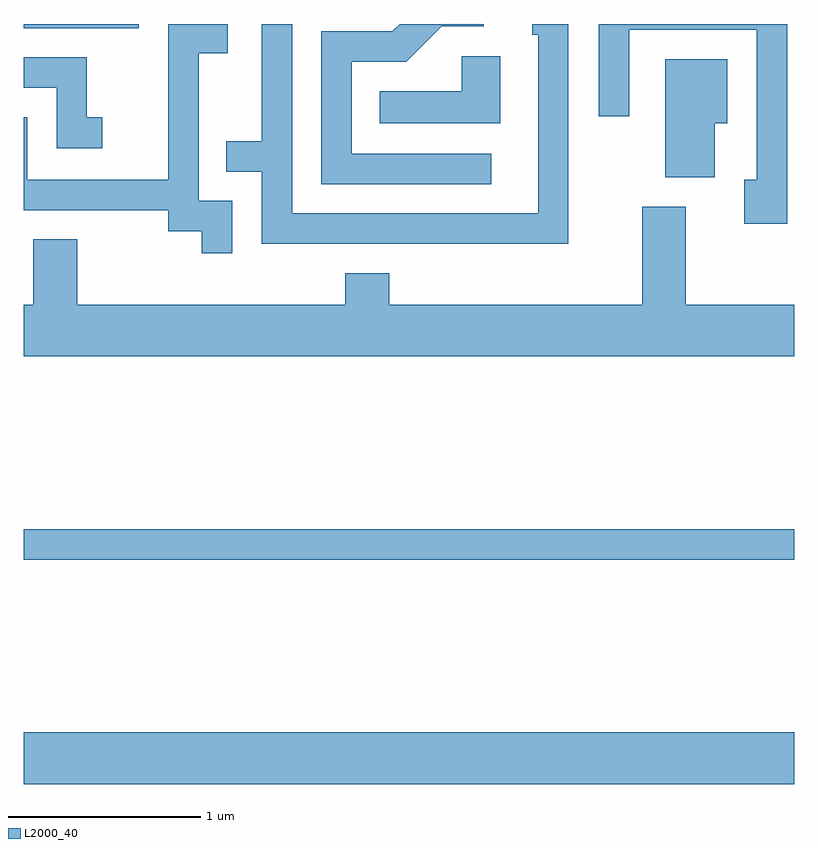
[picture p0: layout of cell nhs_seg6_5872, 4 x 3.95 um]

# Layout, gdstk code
import gdstk
lib = gdstk.Library(unit=1e-6, precision=1e-09)
def R(c, l, rs):  # rectangles x0, y0, x1, y1
    for r in rs: c.add(gdstk.rectangle(r[:2], r[2:], *l))
def P(c, l, *ps):  # polygons
    for p in ps: c.add(gdstk.Polygon(p, *l))
L2000_40 = (2000, 40)

nhs_seg6_5872 = lib.new_cell('nhs_seg6_5872')
R(nhs_seg6_5872, L2000_40, [(363.611,1592.216,367.611,1592.484), (363.611,1593.381,367.611,1593.539), (363.611,1596.141,364.209,1596.162)])
P(nhs_seg6_5872, L2000_40, [(366.439,1596.162),(366.251,1596.162),(366.251,1596.106),(366.281,1596.106),(366.281,1595.179),(365.004,1595.179),(365.004,1596.162),(364.846,1596.162),(364.846,1595.554),(364.663,1595.554),(364.663,1595.396),(364.846,1595.396),(364.846,1595.021),(366.439,1595.021)],
  [(364.694,1595.244),(364.519,1595.244),(364.519,1596.011),(364.669,1596.011),(364.669,1596.162),(364.361,1596.162),(364.361,1595.354),(363.629,1595.354),(363.629,1595.679),(363.611,1595.679),(363.611,1595.196),(364.361,1595.196),(364.361,1595.086),(364.536,1595.086),(364.536,1594.973),(364.694,1594.973)],
  [(367.574,1596.162),(366.596,1596.162),(366.596,1595.683),(366.754,1595.683),(366.754,1596.131),(367.416,1596.131),(367.416,1595.354),(367.351,1595.354),(367.351,1595.126),(367.574,1595.126)],
  [(366.038,1595.489),(365.314,1595.489),(365.314,1595.966),(365.597,1595.966),(365.782,1596.151),(365.998,1596.151),(365.998,1596.162),(365.562,1596.162),(365.524,1596.124),(365.156,1596.124),(365.156,1595.331),(366.038,1595.331)],
  [(366.084,1595.994),(365.886,1595.994),(365.886,1595.814),(365.458,1595.814),(365.458,1595.646),(366.084,1595.646)],
  [(364.018,1595.679),(363.939,1595.679),(363.939,1595.989),(363.611,1595.989),(363.611,1595.831),(363.781,1595.831),(363.781,1595.516),(364.018,1595.516)],
  [(367.199,1595.646),(367.264,1595.646),(367.264,1595.979),(366.941,1595.979),(366.941,1595.366),(367.199,1595.366)],
  [(367.611,1594.704),(367.049,1594.704),(367.049,1595.214),(366.821,1595.214),(366.821,1594.704),(365.509,1594.704),(365.509,1594.869),(365.281,1594.869),(365.281,1594.704),(363.889,1594.704),(363.889,1595.044),(363.661,1595.044),(363.661,1594.704),(363.611,1594.704),(363.611,1594.436),(367.611,1594.436)])

lib.write_gds('nhs_seg6_5872.gds')
